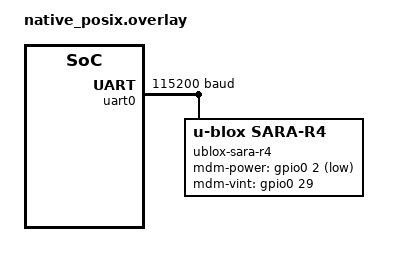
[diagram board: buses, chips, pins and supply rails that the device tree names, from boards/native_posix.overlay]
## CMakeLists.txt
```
#
# Copyright (c) 2022 Nofence AS
#

cmake_minimum_required(VERSION 3.20.0)

list(APPEND ZEPHYR_EXTRA_MODULES
        ${CMAKE_CURRENT_SOURCE_DIR}/../../src/modules/collar_protocol
        )

find_package(Zephyr REQUIRED HINTS $ENV{ZEPHYR_BASE})
project(cellular_controller_testing)

zephyr_include_directories(${CMAKE_CURRENT_BINARY_DIR})
include_directories(${CMAKE_CURRENT_BINARY_DIR})

FILE(GLOB app_sources
        ${CMAKE_CURRENT_SOURCE_DIR}/src/*.c
        ${CMAKE_CURRENT_SOURCE_DIR}/mock/*.c
        ${CMAKE_CURRENT_SOURCE_DIR}/../../src/events/cellular_controller/*.c
        ${CMAKE_CURRENT_SOURCE_DIR}/../../src/modules/cellular_controller/*.c
        ${CMAKE_CURRENT_SOURCE_DIR}/../../src/events/messaging/*.c
        ${CMAKE_CURRENT_SOURCE_DIR}/../../src/events/error_handler/error_event.c
        ${CMAKE_CURRENT_SOURCE_DIR}/../../src/events/fw_upgrade/fw_upgrade_events.c
        ${CMAKE_CURRENT_SOURCE_DIR}/../../src/events/power_manager/pwr_event.c
        ${CMAKE_CURRENT_SOURCE_DIR}/../../src/events/diagnostics/diagnostics_events.c
        ${CMAKE_CURRENT_SOURCE_DIR}/../../src/modules/diagnostics/diagnostic_flags.c
        )
target_sources(app PRIVATE ${app_sources})
target_include_directories(app PRIVATE ${APP_SOURCE})

zephyr_library_include_directories(
        ${CMAKE_CURRENT_SOURCE_DIR}/mock
        ${CMAKE_CURRENT_SOURCE_DIR}/../../src/drivers/modem_nf/zephyr
        ${CMAKE_CURRENT_SOURCE_DIR}/../../src/modules/cellular_controller
        ${CMAKE_CURRENT_SOURCE_DIR}/../../src/modules/collar_protocol/zephyr
        ${CMAKE_CURRENT_SOURCE_DIR}/../../src/modules/cellular_controller/helpers
        ${CMAKE_CURRENT_SOURCE_DIR}/../../src/events/cellular_controller
        ${CMAKE_CURRENT_SOURCE_DIR}/../../src/events/messaging
        ${CMAKE_CURRENT_SOURCE_DIR}/../../src/events/fw_upgrade
        ${CMAKE_CURRENT_SOURCE_DIR}/../../src/events/power_manager
        ${CMAKE_CURRENT_SOURCE_DIR}/../../src/events/diagnostics
        ${CMAKE_CURRENT_SOURCE_DIR}/../../include
        ${CMAKE_CURRENT_SOURCE_DIR}/../../src/modules/storage_controller/
        #${CMAKE_CURRENT_SOURCE_DIR}/../../src/modules/nf_settings/include
        ${CMAKE_CURRENT_SOURCE_DIR}/../../src/events/error_handler
        ${CMAKE_CURRENT_SOURCE_DIR}/../../src/drivers/modem_nf/zephyr
        ${CMAKE_CURRENT_SOURCE_DIR}/../../src/drivers/gnss/zephyr
        ${CMAKE_CURRENT_SOURCE_DIR}/../../src/modules/diagnostics
)
add_dependencies(app collar_protocol_headers)
```

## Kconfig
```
menu "APPLICATION_CODE"
	menu "CELL_CTRL"
	rsource "./../../src/modules/cellular_controller/Kconfig"
	endmenu # FCELL_CTRL
endmenu # APPLICATION CODE

menu "ERROR_HANDLER"
    	rsource "./../../src/modules/error_handler/Kconfig"
endmenu # ERROR_HANDLER

menu "FW_UPGRADE"
    	rsource "./../../src/modules/fw_upgrade/Kconfig"
endmenu # FW_UPGRADE

menu "Zephyr Kernel"
source "Kconfig.zephyr"
endmenu
```

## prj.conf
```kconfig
#
# Copyright (c) 2019 Nordic Semiconductor ASA
#
# SPDX-License-Identifier: LicenseRef-Nordic-5-Clause
#

CONFIG_ZTEST=y
CONFIG_ZTEST_MOCKING=y
CONFIG_ZTEST_PARAMETER_COUNT=20
CONFIG_COLLAR_PROTOCOL=y

# Configuration required by Event Manager
CONFIG_EVENT_MANAGER=y
CONFIG_EVENT_MANAGER_MAX_EVENT_CNT=100
CONFIG_LINKER_ORPHAN_SECTION_PLACE=y
CONFIG_SYSTEM_WORKQUEUE_STACK_SIZE=8192
CONFIG_HEAP_MEM_POOL_SIZE=8192

# Custom reboot handler is implemented for test purposes
CONFIG_RESET_ON_FATAL_ERROR=n
CONFIG_REBOOT=y
CONFIG_STDOUT_CONSOLE=y

CONFIG_NETWORKING=y
CONFIG_NET_SOCKETS=y
CONFIG_NET_OFFLOAD=y
CONFIG_NET_SOCKETS_OFFLOAD=y

CONFIG_NET_TCP=y
CONFIG_NET_UDP=n

# Server IP address
CONFIG_NET_IPV4=y
CONFIG_MODEM_UBLOX_SARA_R4_APN="onomondo"
CONFIG_NET_CONFIG_PEER_IPV4_ADDR="185.215.195.137" #"195.34.89.241" #ublox echo server (port#: 7)

CONFIG_CELLULAR_CONTROLLER_VERBOSE=y
CONFIG_MESSAGING_ACK_TIMEOUT_MSEC=200
```

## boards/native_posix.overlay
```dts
/* u-blox SARA-R4 Modem */
modem_uart: &uart0 {

	current-speed = <115200>;
	status = "okay";

	sara_r4 {
		compatible = "u-blox,sara-r4";
		label = "ublox-sara-r4";
		status = "okay";
		mdm-power-gpios = <&gpio0 2 GPIO_ACTIVE_LOW>;
		/* mdm-reset-gpios = <&gpio1 10 GPIO_ACTIVE_HIGH>; */
		mdm-vint-gpios = <&gpio0 29 GPIO_ACTIVE_HIGH>;
	};
};
```

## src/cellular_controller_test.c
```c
/*
 * Copyright (c) 2022 Nofence AS
 */

#include <ztest.h>
#include "cellular_controller.h"
#include "cellular_controller_events.h"
#include "messaging_module_events.h"
#include "mock_cellular_helpers.h"
#include "error_event.h"
#include "pwr_event.h"

/* semaphores to check publishing of the cellular controller events. */
static K_SEM_DEFINE(download_complete_sem, 0, 1);
static K_SEM_DEFINE(cellular_ack, 0, 1);
static K_SEM_DEFINE(cellular_proto_in, 0, 1);
static K_SEM_DEFINE(cellular_error, 0, 1);
static K_SEM_DEFINE(wake_up, 0, 1);
static K_SEM_DEFINE(send_out_sem, 0, 1);
static K_SEM_DEFINE(stop_connection_sem, 0, 1);
static K_SEM_DEFINE(connection_ready_sem, 0, 1);
static K_SEM_DEFINE(connection_not_ready_sem, 0, 1);

bool simulate_modem_down = false;
extern struct k_sem listen_sem;

void reset_test_semaphores(void)
{
	k_sem_reset(&cellular_ack);
	k_sem_reset(&cellular_proto_in);
	k_sem_reset(&cellular_error);
	k_sem_reset(&wake_up);
	k_sem_reset(&send_out_sem);
	k_sem_reset(&stop_connection_sem);
	k_sem_reset(&download_complete_sem);
}

void test_init(void)
{
	reset_test_semaphores();
	struct pwr_status_event *batt_ev = new_pwr_status_event();
	batt_ev->pwr_state = PWR_NORMAL;
	batt_ev->battery_mv = 4;
	batt_ev->battery_mv_max = 4;
	batt_ev->battery_mv = 4;
	EVENT_SUBMIT(batt_ev);

	struct check_connection *ev = new_check_connection();
	EVENT_SUBMIT(ev);
	ztest_returns_value(stg_config_u8_read, 0);
	zassert_false(event_manager_init(), "Error when initializing event manager");
	ztest_returns_value(reset_modem, 0);
	ztest_returns_value(lte_init, 0);
	ztest_returns_value(stg_config_str_read, 0);
	ztest_returns_value(check_ip, 0);
	ztest_returns_value(socket_connect, 0);
	int8_t err = cellular_controller_init();
	zassert_equal(err, 0, "Cellular controller initialization incomplete!");
	reset_test_semaphores();
}

static char dummy_test_msg[4] = { 0xDE, 0xAD, 0xBE, 0xEF };
int received;
void test_socket_send_fails1(void)
{
	ztest_returns_value(check_ip, 0);
	ztest_returns_value(send_tcp, -1);
	ztest_returns_value(stop_tcp, -1); /* this will reset modem_is_ready for next test */

	struct check_connection *ev = new_check_connection();
	EVENT_SUBMIT(ev);
	struct messaging_proto_out_event *test_msgOut = new_messaging_proto_out_event();
	test_msgOut->buf = &dummy_test_msg[0];
	test_msgOut->len = sizeof(dummy_test_msg);
	EVENT_SUBMIT(test_msgOut);

	/* in case of failure, the sending thread will publish a
	 * stop_connection_event*/
	int err = k_sem_take(&stop_connection_sem, K_MSEC(500));
	zassert_equal(err, 0, "Expected stop connection event was not published ");

	reset_test_semaphores();
}

void test_socket_send_recovery1(void)
{
	ztest_returns_value(reset_modem, 0);
	ztest_returns_value(lte_init, 0);
	ztest_returns_value(stg_config_str_read, 0);
	ztest_returns_value(check_ip, 0);
	ztest_returns_value(socket_connect, 0);

	ztest_returns_value(send_tcp, sizeof(dummy_test_msg));

	struct check_connection *ev = new_check_connection();
	EVENT_SUBMIT(ev);

	struct messaging_proto_out_event *test_msgOut = new_messaging_proto_out_event();
	test_msgOut->buf = &dummy_test_msg[0];
	test_msgOut->len = sizeof(dummy_test_msg);
	EVENT_SUBMIT(test_msgOut);

	int err = k_sem_take(&cellular_ack, K_MSEC(100));
	zassert_equal(err, 0, "Expected cellular_ack event was not published ");

	err = k_sem_take(&send_out_sem, K_MSEC(500));
	zassert_equal(err, 0, "Expected free memory event was not published ");

	reset_test_semaphores();
}

void test_socket_send_fails2(void)
{
	ztest_returns_value(check_ip, 0);
	ztest_returns_value(send_tcp, -1);
	ztest_returns_value(stop_tcp, 0);

	struct check_connection *ev = new_check_connection();
	EVENT_SUBMIT(ev);
	struct messaging_proto_out_event *test_msgOut = new_messaging_proto_out_event();
	test_msgOut->buf = &dummy_test_msg[0];
	test_msgOut->len = sizeof(dummy_test_msg);
	EVENT_SUBMIT(test_msgOut);

	/* in case of failure, the sending thread will publish a
	 * stop_connection_event*/
	int err = k_sem_take(&stop_connection_sem, K_MSEC(500));
	zassert_equal(err, 0, "Expected stop connection event was not published ");

	reset_test_semaphores();
}

void test_socket_send_recovery2(void)
{
	ztest_returns_value(check_ip, 0);
	ztest_returns_value(socket_connect, 0);

	ztest_returns_value(send_tcp, sizeof(dummy_test_msg));

	struct check_connection *ev = new_check_connection();
	EVENT_SUBMIT(ev);

	struct messaging_proto_out_event *test_msgOut = new_messaging_proto_out_event();
	test_msgOut->buf = &dummy_test_msg[0];
	test_msgOut->len = sizeof(dummy_test_msg);
	EVENT_SUBMIT(test_msgOut);

	int err = k_sem_take(&cellular_ack, K_MSEC(100));
	zassert_equal(err, 0, "Expected cellular_ack event was not published ");

	err = k_sem_take(&send_out_sem, K_MSEC(500));
	zassert_equal(err, 0, "Expected free memory event was not published ");

	reset_test_semaphores();
}

void test_send_many_messages(void)
{
	char test_msg[100];
	size_t size2check = 0;
	for (int i = 0; i < 30; i++) {
		size2check = 0;
		for (int j = 0; j <= i; j++) {
			test_msg[j] = (char)(i + j);
			size2check += 1;
		}
		ztest_returns_value(check_ip, 0);
		ztest_returns_value(send_tcp, size2check);
		printk("%d\n", (int)size2check);

		struct check_connection *ev = new_check_connection();
		EVENT_SUBMIT(ev);

		struct messaging_proto_out_event *test_msgOut = new_messaging_proto_out_event();
		test_msgOut->buf = &test_msg[0];
		test_msgOut->len = size2check;
		EVENT_SUBMIT(test_msgOut);

		int err = k_sem_take(&cellular_ack, K_MSEC(150));
		zassert_equal(err, 0, "Expected cellular_ack event was not published ");

		err = k_sem_take(&send_out_sem, K_MSEC(500));
		zassert_equal(err, 0, "Expected free memory event was not published ");

		k_sleep(K_MSEC(10));
	}

	/*TODO: must refactor some source files to be able to test arguments
	 * passed to send_tcp function and the free-up message memory event.*/
	//	err = k_sem_take(&send_out_sem, K_MSEC(500));
	//	zassert_equal(err, 0,
	//		      "Expected free message memory event was not"
	//		      " published ");
	reset_test_semaphores();
}
int socket_poll_interval = 1000; /* must be set equal to SOCKET_POLL_INTERVAL */
void test_publish_event_with_a_received_msg(void) /* happy scenario - msg
 * received from server is pushed to messaging module! */
{
	received = 30;
	ztest_returns_value(socket_receive, received);
	int err = k_sem_take(&cellular_proto_in, K_SECONDS(1));
	zassert_equal(err, 0,
		      "Expected cellular_proto_in event was not "
		      "published ");

	struct messaging_ack_event *ack = new_messaging_ack_event();
	EVENT_SUBMIT(ack);

	received = 10;
	ztest_returns_value(socket_receive, received);

	k_sleep(K_MSEC(socket_poll_interval));
	err = k_sem_take(&cellular_proto_in, K_MSEC(50));
	zassert_equal(err, 0,
		      "Expected cellular_proto_in event was not "
		      "published ");

	/* simulate messaging module not publishing it's ack- for the next test
	struct messaging_ack_event *ack = new_messaging_ack_event();
	EVENT_SUBMIT(ack);
	 */
	reset_test_semaphores();
}

void test_ack_from_messaging_module_missed(void)
{
	received = 30;
	ztest_returns_value(socket_receive, received);
	int err = k_sem_take(&cellular_error,
			     K_MSEC(socket_poll_interval + CONFIG_MESSAGING_ACK_TIMEOUT_MSEC + 50));
	zassert_equal(err, 0, "Expected cellular_error event was not published!");
	ztest_returns_value(socket_receive, 0);
	ztest_returns_value(socket_receive, 0);

	k_sleep(K_MSEC(socket_poll_interval));

	err = k_sem_take(&cellular_proto_in, K_MSEC(socket_poll_interval));
	zassert_not_equal(err, 0, "Unexpected cellular_proto_in event was published!");
	reset_test_semaphores();
}

void test_socket_rcv_fails(void)
{
	ztest_returns_value(socket_receive, -1);
	ztest_returns_value(stop_tcp, 0);
	k_sleep(K_MSEC(socket_poll_interval));

	int err;
	err = k_sem_take(&cellular_error, K_MSEC(socket_poll_interval));
	zassert_equal(err, 0,
		      "Expected cellular_error event was not published on socket receive error!");
	reset_test_semaphores();
}

void test_socket_connect_fails(void)
{
	ztest_returns_value(check_ip, 0);
	ztest_returns_value(socket_connect, -1);
	ztest_returns_value(stop_tcp, 0);
	int err;
	struct check_connection *ev = new_check_connection();
	EVENT_SUBMIT(ev);
	err = k_sem_take(&cellular_error, K_SECONDS(1));
	zassert_equal(err, 0,
		      "Expected cellular_error event was not published on socket connect error!");
	reset_test_semaphores();
}

void test_notify_messaging_module_when_nudged_from_server(void)
{
	k_sem_give(&listen_sem); /*TODO: when unit testing the modem driver,
 * make sure the semaphore is given as expected.*/
	int err = k_sem_take(&wake_up, K_MSEC(100));
	zassert_equal(err, 0, "Failed to notify messaging module when nudged from server!");
	reset_test_semaphores();
}

void test_socket_rcv_times_out(void)
{
	ztest_returns_value(reset_modem, 0);
	ztest_returns_value(lte_init, 0);
	ztest_returns_value(stg_config_str_read, 0);
	ztest_returns_value(check_ip, 0);
	ztest_returns_value(socket_connect, 0);

	ztest_returns_value(send_tcp, sizeof(dummy_test_msg));

	struct check_connection *ev = new_check_connection();
	EVENT_SUBMIT(ev);

	struct messaging_proto_out_event *test_msgOut = new_messaging_proto_out_event();
	test_msgOut->buf = &dummy_test_msg[0];
	test_msgOut->len = sizeof(dummy_test_msg);
	EVENT_SUBMIT(test_msgOut);

	int err = k_sem_take(&cellular_ack, K_MSEC(100));
	zassert_equal(err, 0, "Expected cellular_ack event was not published ");

	err = k_sem_take(&send_out_sem, K_MSEC(500));
	zassert_equal(err, 0, "Expected free memory event was not published ");

	int cycles = 10; /* must be set to SOCK_RECV_TIMEOUT */
	while (cycles-- > 0) {
		ztest_returns_value(socket_receive, 0);
		k_sleep(K_MSEC(socket_poll_interval));
	}
	ztest_returns_value(socket_receive, 0);
	ztest_returns_value(stop_tcp, 0);
	k_sleep(K_MSEC(socket_poll_interval));
	reset_test_semaphores();
}

void test_recover_when_modem_wakeup_fails(void)
{
	k_sleep(K_SECONDS(30));
	test_socket_connect_fails();
	ztest_returns_value(reset_modem, -1);
	ztest_returns_value(modem_nf_pwr_off, 0);
	struct check_connection *ev = new_check_connection();
	EVENT_SUBMIT(ev); /* trigger failing case */

	ztest_returns_value(reset_modem, 0);
	ztest_returns_value(lte_init, 0);
	ztest_returns_value(stg_config_str_read, 0);
	ztest_returns_value(check_ip, 0);
	ztest_returns_value(socket_connect, 0);

	ztest_returns_value(send_tcp, sizeof(dummy_test_msg));
	struct messaging_proto_out_event *test_msgOut = new_messaging_proto_out_event();
	test_msgOut->buf = &dummy_test_msg[0];
	test_msgOut->len = sizeof(dummy_test_msg);
	EVENT_SUBMIT(test_msgOut);

	int err = k_sem_take(&cellular_ack, K_MSEC(100));
	zassert_equal(err, 0, "Expected cellular_ack event was not published ");

	err = k_sem_take(&send_out_sem, K_MSEC(500));
	zassert_equal(err, 0, "Expected free memory event was not published ");

	struct check_connection *ev2 = new_check_connection();
	EVENT_SUBMIT(ev2); /* trigger recovery */

	int cycles = 10; /* must be set to SOCK_RECV_TIMEOUT */
	while (cycles-- > 0) {
		ztest_returns_value(socket_receive, 0);
		k_sleep(K_MSEC(socket_poll_interval));
	}
	ztest_returns_value(socket_receive, 0);
	ztest_returns_value(stop_tcp, 0);
	k_sleep(K_MSEC(socket_poll_interval));
	reset_test_semaphores();
}

void test_modem_pwr_off(void)
{
	struct pwr_status_event *pwr_event = new_pwr_status_event();
	pwr_event->pwr_state = PWR_LOW;
	pwr_event->battery_mv = 330;
	pwr_event->battery_mv_min = 330;
	pwr_event->battery_mv_max = 330;
	EVENT_SUBMIT(pwr_event);

	reset_test_semaphores();

	struct check_connection *ev = new_check_connection();
	EVENT_SUBMIT(ev);

	ztest_returns_value(modem_nf_pwr_off, 0);

	k_sleep(K_MSEC(socket_poll_interval));
	struct pwr_status_event *pwr_event2 = new_pwr_status_event();
	pwr_event2->pwr_state = PWR_NORMAL;
	pwr_event2->battery_mv = 330;
	pwr_event2->battery_mv_min = 330;
	pwr_event2->battery_mv_max = 330;
	EVENT_SUBMIT(pwr_event2);

	reset_test_semaphores();

	test_socket_send_recovery1();
}

void test_gsm_device_not_ready(void)
{
	simulate_modem_down = true;

	int8_t err = cellular_controller_init();
	zassert_not_equal(err, 0, "Cellular controller initialization incomplete!");
	err = k_sem_take(&cellular_error, K_SECONDS(1));
	zassert_equal(err, 0, "Expected cellular_error event was not published on modem down!");
	reset_test_semaphores();
}

void test_download_new_modem_firmware_OK_installation_OK(void)
{
	int len = 22;
	char mdm_fw_url[] = "mdm_firmware_file";
	ztest_expect_value(modem_nf_ftp_fw_download, filename, &mdm_fw_url[0]);
	ztest_returns_value(modem_nf_ftp_fw_download, 0);
	ztest_returns_value(stop_tcp, 0);

	int err = k_sem_take(&connection_ready_sem, K_MSEC(100));
	zassert_equal(err, 0, "Unexpected connection state!");

	struct check_connection *ev = new_check_connection();
	EVENT_SUBMIT(ev);

	struct messaging_mdm_fw_event *mdm_fw_ver = new_messaging_mdm_fw_event();
	mdm_fw_ver->buf = &mdm_fw_url[0];
	mdm_fw_ver->len = len;
	EVENT_SUBMIT(mdm_fw_ver);

	err = k_sem_take(&download_complete_sem, K_MSEC(100));
	zassert_equal(err, 0, "Expected download complete event not published!%d", err);

	ztest_returns_value(modem_nf_ftp_fw_install, 0);
	ztest_returns_value(reset_modem, 0);
	ztest_returns_value(lte_init, 0);
	ztest_returns_value(stg_config_str_read, 0);
	ztest_returns_value(check_ip, 0);
	ztest_returns_value(socket_connect, 0);

	struct check_connection *ev2 = new_check_connection();
	EVENT_SUBMIT(ev2);

	struct messaging_mdm_fw_event *mdm_fw_ver2 = new_messaging_mdm_fw_event();
	mdm_fw_ver2->buf = "\0";
	EVENT_SUBMIT(mdm_fw_ver2);

	err = k_sem_take(&connection_ready_sem, K_MSEC(100));
	zassert_equal(err, 0, "Unexpected connection state!");
}

void test_main(void)
{
	int mdm_fw_iteration = 0;
	printk("%d\n", mdm_fw_iteration);
	ztest_test_suite(cellular_controller_tests1, ztest_unit_test(test_init),
			 ztest_unit_test(test_socket_send_fails1),
			 ztest_unit_test(test_socket_send_recovery1),
			 ztest_unit_test(test_socket_send_fails2),
			 ztest_unit_test(test_socket_send_recovery2),
			 ztest_unit_test(test_send_many_messages),
			 ztest_unit_test(test_publish_event_with_a_received_msg),
			 ztest_unit_test(test_ack_from_messaging_module_missed),
			 ztest_unit_test(test_socket_rcv_fails),
			 ztest_unit_test(test_socket_connect_fails),
			 ztest_unit_test(test_notify_messaging_module_when_nudged_from_server),
			 ztest_unit_test(test_socket_rcv_times_out),
			 ztest_unit_test(test_recover_when_modem_wakeup_fails),
			 ztest_unit_test(test_modem_pwr_off),
			 ztest_unit_test(test_gsm_device_not_ready),
			 ztest_unit_test(test_download_new_modem_firmware_OK_installation_OK));

	ztest_run_test_suite(cellular_controller_tests1);
}

static bool event_handler(const struct event_header *eh)
{
	if (is_cellular_proto_in_event(eh)) {
		k_sem_give(&cellular_proto_in);
		printk("released semaphore for cellular_proto_in!\n");
		struct cellular_proto_in_event *ev = cast_cellular_proto_in_event(eh);
		if (received > 0) {
			zassert_equal(ev->len, received, "Buffer length mismatch");
		}
		return false;
	} else if (is_cellular_ack_event(eh)) {
		k_sem_give(&cellular_ack);
		printk("released semaphore for cellular_ack, ");
		struct cellular_ack_event *ev = cast_cellular_ack_event(eh);
		if (ev->message_sent) {
			printk("sent successfully!\n");
		} else {
			printk("sending failed!\n");
		}
		return false;
	} else if (is_error_event(eh)) {
		k_sem_give(&cellular_error);
		printk("released semaphore for cellular_error!\n");
		return false;
	} else if (is_send_poll_request_now(eh)) {
		k_sem_give(&wake_up);
		printk("released semaphore for nudge from server!\n");
		return false;
	} else if (is_free_message_mem_event(eh)) {
		k_sem_give(&send_out_sem);
		return false;
	} else if (is_messaging_stop_connection_event(eh)) {
		k_sem_give(&stop_connection_sem);
		return false;
	} else if (is_mdm_fw_update_event(eh)) {
		struct mdm_fw_update_event *ev = cast_mdm_fw_update_event(eh);
		if (ev->status == MDM_FW_DOWNLOAD_COMPLETE) {
			printk("Download complete.\n");
			k_sem_give(&download_complete_sem);
		}
		return false;
	} else if (is_connection_state_event(eh)) {
		struct connection_state_event *ev = cast_connection_state_event(eh);
		if (ev->state) {
			k_sem_give(&connection_ready_sem);
		} else {
			k_sem_give(&connection_not_ready_sem);
		}
		return false;
	}
	return false;
}

EVENT_LISTENER(test, event_handler);
EVENT_SUBSCRIBE(test, cellular_proto_in_event);
EVENT_SUBSCRIBE(test, cellular_ack_event);
EVENT_SUBSCRIBE(test, error_event);
EVENT_SUBSCRIBE(test, send_poll_request_now);
EVENT_SUBSCRIBE(test, free_message_mem_event);
EVENT_SUBSCRIBE(test, messaging_stop_connection_event);
EVENT_SUBSCRIBE(test, connection_state_event);
EVENT_SUBSCRIBE(test, mdm_fw_update_event);
```
